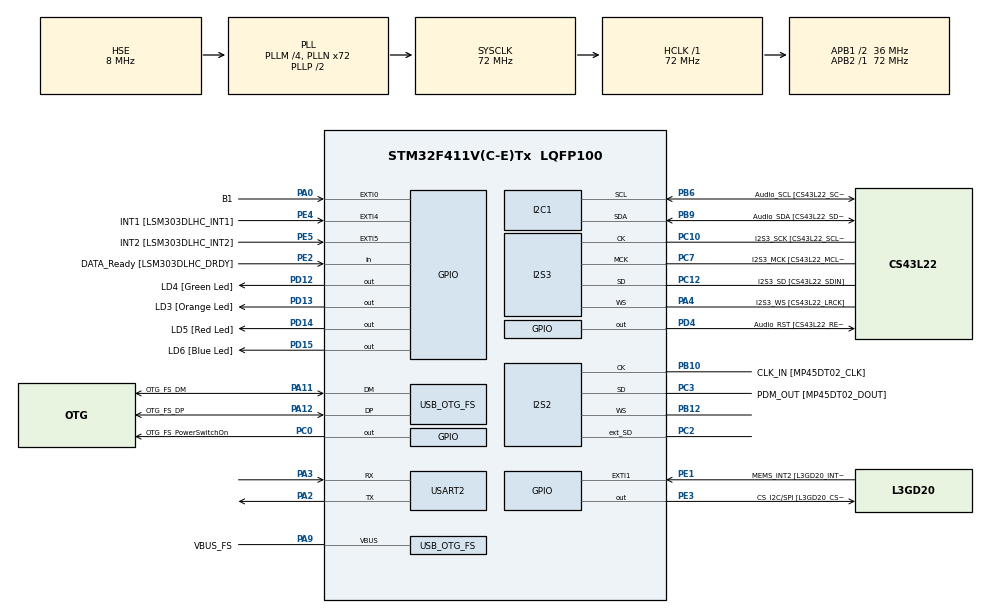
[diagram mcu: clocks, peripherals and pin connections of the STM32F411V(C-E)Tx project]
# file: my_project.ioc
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I2C1.I2C_Mode=I2C_Standard
I2S2.AudioFreq=I2S_AUDIOFREQ_96K
I2S2.ErrorAudioFreq=0.15 %
I2S2.FullDuplexMode=I2S_FULLDUPLEXMODE_ENABLE
I2S2.Instance=SPI$Index
I2S2.RealAudioFreq=96.153 KHz
I2S2.VirtualMode=I2S_MODE_MASTER
I2S3.AudioFreq=I2S_AUDIOFREQ_96K
I2S3.ErrorAudioFreq=-6.99 %
I2S3.FullDuplexMode=I2S_FULLDUPLEXMODE_DISABLE
I2S3.Instance=SPI$Index
I2S3.RealAudioFreq=89.285 KHz
I2S3.VirtualMode=I2S_MODE_MASTER
Mcu.Family=STM32F4
Mcu.Name=STM32F411V(C-E)Tx
Mcu.Package=LQFP100
NVIC.EXTI0_IRQn=true\:0\:0\:false\:false\:true\:true\:true
NVIC.OTG_FS_IRQn=true\:0\:0\:false\:false\:true\:true\:true
NVIC.PriorityGroup=NVIC_PRIORITYGROUP_0
NVIC.USART2_IRQn=true\:0\:0\:false\:false\:true\:true\:true
PA0-WKUP.GPIO_Label=B1
PA0-WKUP.GPIO_ModeDefaultEXTI=GPIO_MODE_IT_FALLING
PA0-WKUP.Signal=GPXTI0
PA10.GPIO_Label=OTG_FS_ID
PA10.Signal=USB_OTG_FS_ID
PA11.GPIO_Label=OTG_FS_DM
PA11.Mode=Device_Only
PA11.Signal=USB_OTG_FS_DM
PA12.GPIO_Label=OTG_FS_DP
PA12.Mode=Device_Only
PA12.Signal=USB_OTG_FS_DP
PA13.GPIO_Label=SWDIO
PA13.Mode=Serial_Wire
PA13.Signal=SYS_JTMS-SWDIO
PA14.GPIO_Label=SWCLK
PA14.Mode=Serial_Wire
PA14.Signal=SYS_JTCK-SWCLK
PA2.Mode=Asynchronous
PA2.Signal=USART2_TX
PA3.Mode=Asynchronous
PA3.Signal=USART2_RX
PA4.GPIO_Label=I2S3_WS [CS43L22_LRCK]
PA4.GPIO_Mode=GPIO_MODE_AF_PP
PA4.GPIO_PuPd=GPIO_NOPULL
PA4.GPIO_Speed=GPIO_SPEED_FREQ_LOW
PA4.Mode=Half_Duplex_Master
PA4.Signal=I2S3_WS
PA5.GPIO_Label=SPI1_SCK [L3GD20_SC/SPC]
PA5.Signal=SPI1_SCK
PA6.GPIO_Label=SPI1_MISO [L3GD20_AS0/SDO]
PA6.Signal=SPI1_MISO
PA7.GPIO_Label=SPI1_MOSI [L3GD20_SDA/SDI/SDO]
PA7.Signal=SPI1_MOSI
PA9.GPIO_Label=VBUS_FS
PA9.Mode=Activate_VBUS
PA9.Signal=USB_OTG_FS_VBUS
PB10.GPIO_Label=CLK_IN [MP45DT02_CLK]
PB10.Mode=Full_Duplex_Master
PB10.Signal=I2S2_CK
PB12.Mode=Full_Duplex_Master
PB12.Signal=I2S2_WS
PB3.GPIO_Label=SWO
PB3.Signal=SYS_JTDO-SWO
PB6.GPIO_Label=Audio_SCL [CS43L22_SCL]
PB6.GPIO_Mode=GPIO_MODE_AF_OD
PB6.GPIO_Pu=GPIO_PULLUP
PB6.GPIO_PuPd=GPIO_NOPULL
PB6.GPIO_Speed=GPIO_SPEED_FREQ_LOW
PB6.Mode=I2C
PB6.Signal=I2C1_SCL
PB9.GPIO_Label=Audio_SDA [CS43L22_SDA]
PB9.GPIO_Mode=GPIO_MODE_AF_OD
PB9.GPIO_Pu=GPIO_PULLUP
PB9.GPIO_PuPd=GPIO_NOPULL
PB9.GPIO_Speed=GPIO_SPEED_FREQ_LOW
PB9.Mode=I2C
PB9.Signal=I2C1_SDA
PC0.GPIO_Label=OTG_FS_PowerSwitchOn
PC0.PinState=GPIO_PIN_SET
PC0.Signal=GPIO_Output
PC10.GPIO_Label=I2S3_SCK [CS43L22_SCLK]
PC10.GPIO_Mode=GPIO_MODE_AF_PP
PC10.GPIO_PuPd=GPIO_NOPULL
PC10.GPIO_Speed=GPIO_SPEED_FREQ_LOW
PC10.Mode=Half_Duplex_Master
PC10.Signal=I2S3_CK
PC12.GPIO_Label=I2S3_SD [CS43L22_SDIN]
PC12.GPIO_Mode=GPIO_MODE_AF_PP
PC12.GPIO_PuPd=GPIO_NOPULL
PC12.GPIO_Speed=GPIO_SPEED_FREQ_LOW
PC12.Mode=Half_Duplex_Master
PC12.Signal=I2S3_SD
PC14-OSC32_IN.GPIO_Label=PC14-OSC32_IN
PC14-OSC32_IN.Signal=RCC_OSC32_IN
PC15-OSC32_OUT.GPIO_Label=PC15-OSC32_OUT
PC15-OSC32_OUT.Signal=RCC_OSC32_OUT
PC2.Mode=Full_Duplex_Master
PC2.Signal=I2S2_ext_SD
PC3.GPIO_Label=PDM_OUT [MP45DT02_DOUT]
PC3.Mode=Full_Duplex_Master
PC3.Signal=I2S2_SD
PC7.GPIO_Label=I2S3_MCK [CS43L22_MCLK]
PC7.GPIO_Mode=GPIO_MODE_AF_PP
PC7.GPIO_PuPd=GPIO_NOPULL
PC7.GPIO_Speed=GPIO_SPEED_FREQ_LOW
PC7.Mode=Master_Clock_Activated
PC7.Signal=I2S3_MCK
PD12.GPIO_Label=LD4 [Green Led]
PD12.GPIO_PuPd=GPIO_NOPULL
PD12.GPIO_Speed=GPIO_SPEED_FREQ_LOW
PD12.Signal=GPIO_Output
PD13.GPIO_Label=LD3 [Orange Led]
PD13.GPIO_PuPd=GPIO_NOPULL
PD13.GPIO_Speed=GPIO_SPEED_FREQ_LOW
PD13.Signal=GPIO_Output
PD14.GPIO_Label=LD5 [Red Led]
PD14.GPIO_PuPd=GPIO_NOPULL
PD14.GPIO_Speed=GPIO_SPEED_FREQ_LOW
PD14.Signal=GPIO_Output
PD15.GPIO_Label=LD6 [Blue Led]
PD15.GPIO_PuPd=GPIO_NOPULL
PD15.GPIO_Speed=GPIO_SPEED_FREQ_LOW
PD15.Signal=GPIO_Output
PD4.GPIO_Label=Audio_RST [CS43L22_RESET]
PD4.Signal=GPIO_Output
PE1.GPIO_Label=MEMS_INT2 [L3GD20_INT2]
PE1.GPIO_ModeDefaultEXTI=GPIO_MODE_EVT_RISING
PE1.Signal=GPXTI1
PE2.GPIO_Label=DATA_Ready [LSM303DLHC_DRDY]
PE2.Signal=GPIO_Input
PE3.GPIO_Label=CS_I2C/SPI [L3GD20_CS_I2C/SPI]
PE3.Signal=GPIO_Output
PE4.GPIO_Label=INT1 [LSM303DLHC_INT1]
PE4.GPIO_ModeDefaultEXTI=GPIO_MODE_EVT_RISING
PE4.Signal=GPXTI4
PE5.GPIO_Label=INT2 [LSM303DLHC_INT2]
PE5.GPIO_ModeDefaultEXTI=GPIO_MODE_EVT_RISING
PE5.Signal=GPXTI5
PH0\ -\ OSC_IN.GPIO_Label=PH0-OSC_IN
PH0\ -\ OSC_IN.Mode=HSE-External-Oscillator
PH0\ -\ OSC_IN.Signal=RCC_OSC_IN
PH1\ -\ OSC_OUT.GPIO_Label=PH1-OSC_OUT
PH1\ -\ OSC_OUT.Mode=HSE-External-Oscillator
PH1\ -\ OSC_OUT.Signal=RCC_OSC_OUT
ProjectManager.HeapSize=0x200
ProjectManager.StackSize=0x400
ProjectManager.TargetToolchain=STM32CubeIDE
RCC.48MHZClocksFreq_Value=48000000
RCC.AHBFreq_Value=72000000
RCC.APB1CLKDivider=RCC_HCLK_DIV2
RCC.APB1Freq_Value=36000000
RCC.APB1TimFreq_Value=72000000
RCC.APB2Freq_Value=72000000
RCC.APB2TimFreq_Value=72000000
RCC.CortexFreq_Value=72000000
RCC.HCLKFreq_Value=72000000
RCC.HSE_VALUE=8000000
RCC.HSI_VALUE=16000000
RCC.LSE_VALUE=32768
RCC.PLLI2SM=5
RCC.PLLI2SN=200
RCC.PLLM=4
RCC.PLLN=72
RCC.PLLQ=3
RCC.SYSCLKFreq_VALUE=72000000
RCC.SYSCLKSource=RCC_SYSCLKSOURCE_PLLCLK
RCC.VCOOutputFreq_Value=144000000
USART2.VirtualMode=VM_ASYNC
USB_DEVICE.CLASS_NAME_FS=CDC
USB_DEVICE.VirtualMode=Cdc
USB_DEVICE.VirtualModeFS=Cdc_FS
USB_OTG_FS.VirtualMode=Device_Only
VP_USB_DEVICE_VS_USB_DEVICE_CDC_FS.Mode=CDC_FS
board=STM32F411E-DISCO

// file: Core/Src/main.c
/* USER CODE BEGIN Header */
/**
  ******************************************************************************
  * @file           : main.c
  * @brief          : Main program body
  ******************************************************************************
  * @attention
  *
  * Copyright (c) 2021 STMicroelectronics.
  * All rights reserved.
  *
  * This software is licensed under terms that can be found in the LICENSE file
  * in the root directory of this software component.
  * If no LICENSE file comes with this software, it is provided AS-IS.
  *
  ******************************************************************************
  */
/* USER CODE END Header */
#include "main.h"
#include "i2c.h"
#include "i2s.h"
#include "usart.h"
#include "usb_device.h"
#include "gpio.h"

/* USER CODE BEGIN Includes */

#include "MPU6050_mylib.h"
#include "usbd_cdc_if.h" // Plik bedacy interfejsem uzytkownika do kontrolera USB
#define BUFFER_SIZE 40

/* USER CODE END Includes */

void SystemClock_Config(void);
void PeriphCommonClock_Config(void);

/* USER CODE BEGIN 0 */

uint8_t ReceivedData[BUFFER_SIZE], message[BUFFER_SIZE] = "Send measure\n"; // Tablica przechowujaca odebrane dane
uint8_t ReceivedDataFlag = 0; // Flaga informujaca o odebraniu danych

/* USER CODE END 0 */

int main(void)
{

  /* MCU Configuration--------------------------------------------------------*/

  /* Reset of all peripherals, Initializes the Flash interface and the Systick. */
  HAL_Init();

  /* Configure the system clock */
  SystemClock_Config();

/* Configure the peripherals common clocks */
  PeriphCommonClock_Config();

  /* Initialize all configured peripherals */
  MX_GPIO_Init();
  MX_I2S2_Init();
  MX_I2S3_Init();
  MX_I2C1_Init();
  MX_USB_DEVICE_Init();
  MX_USART2_UART_Init();
  /* USER CODE BEGIN 2 */

  uint8_t DataToSend[BUFFER_SIZE]; // Tablica zawierajaca dane do wyslania
  uint8_t MessageLength = 0; // Zawiera dlugosc wysylanej wiadomosci

  //struktura przechowująca dane odczytane z mierników
  MPU6050_data sensor_data;

  //inicjalizacja czujnika MPU6050
  if(MPU6050_init() != 0){
	  while(1){
		  HAL_GPIO_TogglePin(LD3_GPIO_Port, LD3_Pin);
		  HAL_Delay(500);
	  }
  }

  /* USER CODE END 2 */

  /* Infinite loop */
  /* USER CODE BEGIN WHILE */
  while (1)
  {
	if(ReceivedDataFlag == 1){

		ReceivedDataFlag = 0;

		if(*ReceivedData == *message) {
			MPU6050_measure(&sensor_data);
			MessageLength = sprintf(DataToSend, "%0.2f %0.2f %0.2f %0.2f %0.2f %0.2f \n\r", sensor_data.acc_x,sensor_data.acc_y,sensor_data.acc_z,sensor_data.gyro_x,sensor_data.gyro_y,sensor_data.gyro_z);

			CDC_Transmit_FS(DataToSend, MessageLength);
		}

		// Wyczyszczenie tablicy odebranych danych
		uint8_t iter;
		for(iter = 0; iter<BUFFER_SIZE; ++iter){
			ReceivedData[iter] = 0;
		}
	}
    /* USER CODE END WHILE */

  }
}

void SystemClock_Config(void)
{
  RCC_OscInitTypeDef RCC_OscInitStruct = {0};
  RCC_ClkInitTypeDef RCC_ClkInitStruct = {0};

  /** Configure the main internal regulator output voltage
  */
  __HAL_RCC_PWR_CLK_ENABLE();
  __HAL_PWR_VOLTAGESCALING_CONFIG(PWR_REGULATOR_VOLTAGE_SCALE1);
  /** Initializes the RCC Oscillators according to the specified parameters
  * in the RCC_OscInitTypeDef structure.
  */
  RCC_OscInitStruct.OscillatorType = RCC_OSCILLATORTYPE_HSE;
  RCC_OscInitStruct.HSEState = RCC_HSE_ON;
  RCC_OscInitStruct.PLL.PLLState = RCC_PLL_ON;
  RCC_OscInitStruct.PLL.PLLSource = RCC_PLLSOURCE_HSE;
  RCC_OscInitStruct.PLL.PLLM = 4;
  RCC_OscInitStruct.PLL.PLLN = 72;
  RCC_OscInitStruct.PLL.PLLP = RCC_PLLP_DIV2;
  RCC_OscInitStruct.PLL.PLLQ = 3;
  if (HAL_RCC_OscConfig(&RCC_OscInitStruct) != HAL_OK)
  {
    Error_Handler();
  }
  /** Initializes the CPU, AHB and APB buses clocks
  */
  RCC_ClkInitStruct.ClockType = RCC_CLOCKTYPE_HCLK|RCC_CLOCKTYPE_SYSCLK
                              |RCC_CLOCKTYPE_PCLK1|RCC_CLOCKTYPE_PCLK2;
  RCC_ClkInitStruct.SYSCLKSource = RCC_SYSCLKSOURCE_PLLCLK;
  RCC_ClkInitStruct.AHBCLKDivider = RCC_SYSCLK_DIV1;
  RCC_ClkInitStruct.APB1CLKDivider = RCC_HCLK_DIV2;
  RCC_ClkInitStruct.APB2CLKDivider = RCC_HCLK_DIV1;

  if (HAL_RCC_ClockConfig(&RCC_ClkInitStruct, FLASH_LATENCY_2) != HAL_OK)
  {
    Error_Handler();
  }
}

void PeriphCommonClock_Config(void)
{
  RCC_PeriphCLKInitTypeDef PeriphClkInitStruct = {0};

  /** Initializes the peripherals clock
  */
  PeriphClkInitStruct.PeriphClockSelection = RCC_PERIPHCLK_I2S;
  PeriphClkInitStruct.PLLI2S.PLLI2SN = 200;
  PeriphClkInitStruct.PLLI2S.PLLI2SM = 5;
  PeriphClkInitStruct.PLLI2S.PLLI2SR = 2;
  if (HAL_RCCEx_PeriphCLKConfig(&PeriphClkInitStruct) != HAL_OK)
  {
    Error_Handler();
  }
}

void Error_Handler(void)
{
  __disable_irq();
  while (1)
  {
  }
}
